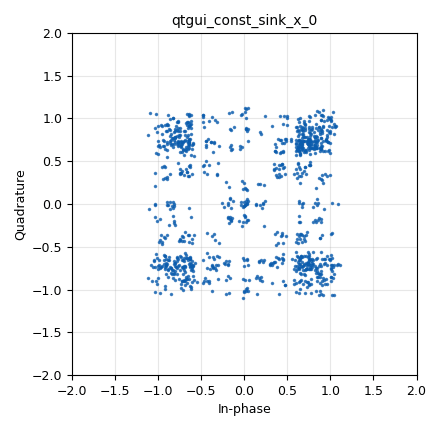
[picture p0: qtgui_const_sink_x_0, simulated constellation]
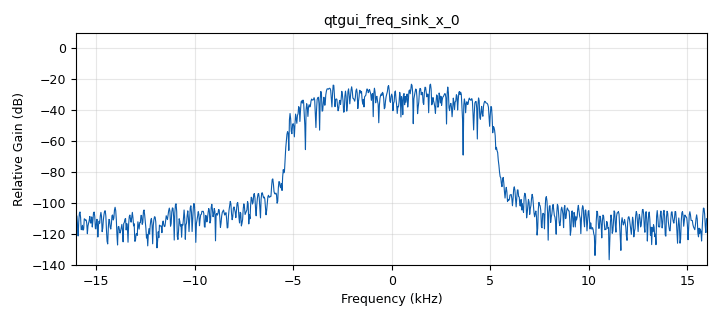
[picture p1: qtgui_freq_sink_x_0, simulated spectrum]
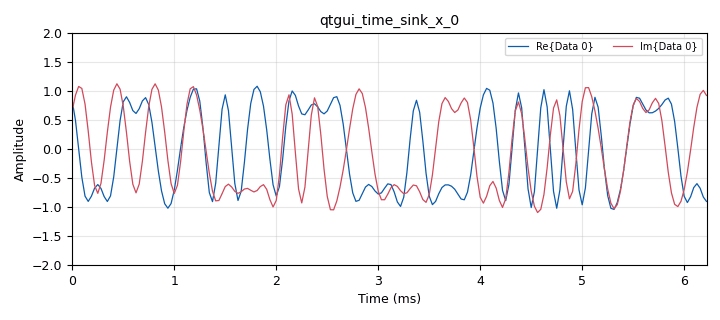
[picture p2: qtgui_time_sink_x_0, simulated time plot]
options:
  parameters:
    author: Barry Duggan
    category: Custom
    comment: https://wiki.gnuradio.org/index.php?title=QPSK_Mod_and_Demod
    generate_options: qt_gui
    id: qpsk_stage2
    output_language: python
    title: qpsk_stage2
  states: {}

blocks:
- name: excess_bw
  id: variable
  parameters:
    value: '0.35'
  states: {}
- name: freq_offset
  id: variable_qtgui_range
  parameters:
    gui_hint: 0,2,1,1
    label: 'Channel: Frequency Offset'
    start: '-0.1'
    step: '0.001'
    stop: '0.1'
    value: '0.025'
  states: {state: disabled}
- name: noise_volt
  id: variable_qtgui_range
  parameters:
    gui_hint: 0,0,1,1
    label: 'Channel: Noise Voltage'
    start: '0'
    step: '0.01'
    stop: '1'
    value: '0.2'
  states: {state: disabled}
- name: qpsk
  id: variable_constellation_rect
  parameters:
    const_points: '[0.707+0.707j, -0.707+0.707j, -0.707-0.707j, 0.707-0.707j]'
    imag_sect: '2'
    real_sect: '2'
    rot_sym: '4'
    sym_map: '[0, 1, 2, 3]'
    w_imag_sect: '1'
    w_real_sect: '1'
  states: {}
- name: samp_rate
  id: variable
  parameters:
    value: '32000'
  states: {}
- name: sps
  id: variable
  parameters:
    value: '4'
  states: {}
- name: time_offset
  id: variable_qtgui_range
  parameters:
    gui_hint: 0,1,1,1
    label: 'Channel: Timing Offset'
    start: '0.999'
    step: '0.0001'
    stop: '1.001'
    value: '1.0005'
  states: {state: disabled}
- name: analog_random_source_x_0
  id: analog_random_source_x
  parameters:
    max: '256'
    min: '0'
    num_samps: '10000'
    repeat: 'True'
    type: byte
  states: {}
- name: blocks_throttle2_0
  id: blocks_throttle2
  parameters:
    samples_per_second: samp_rate
    type: complex
  states: {}
- name: channels_channel_model_0
  id: channels_channel_model
  parameters:
    comment: Epsilon is the time offset
    epsilon: time_offset
    freq_offset: frec_offset
    noise_voltage: noise_volt
    seed: '0'
    taps: '1'
  states: {state: disabled}
- name: digital_constellation_modulator_0
  id: digital_constellation_modulator
  parameters:
    constellation: qpsk
    differential: 'True'
    excess_bw: excess_bw
    samples_per_symbol: sps
  states: {}
- name: qtgui_const_sink_x_0
  id: qtgui_const_sink_x
  parameters:
    gui_hint: 1,2,1,2
    name: ''
    size: '1024'
    type: complex
  states: {}
- name: qtgui_freq_sink_x_0
  id: qtgui_freq_sink_x
  parameters:
    bw: samp_rate
    fc: '0'
    fftsize: '1024'
    gui_hint: 2,0,1,4
    name: ''
    showports: 'True'
    type: complex
    width1: '2'
  states: {}
- name: qtgui_time_sink_x_0
  id: qtgui_time_sink_x
  parameters:
    gui_hint: 1,0,1,2
    label1: ''
    label2: ''
    name: ''
    size: '200'
    srate: samp_rate
    type: complex
    ymax: '2'
    ymin: '-2'
  states: {}

connections:
- [analog_random_source_x_0, '0', digital_constellation_modulator_0, '0']
- [blocks_throttle2_0, '0', qtgui_const_sink_x_0, '0']
- [blocks_throttle2_0, '0', qtgui_freq_sink_x_0, '0']
- [blocks_throttle2_0, '0', qtgui_time_sink_x_0, '0']
- [digital_constellation_modulator_0, '0', blocks_throttle2_0, '0']

metadata:
  file_format: 1
  grc_version: 3.10.12.0
